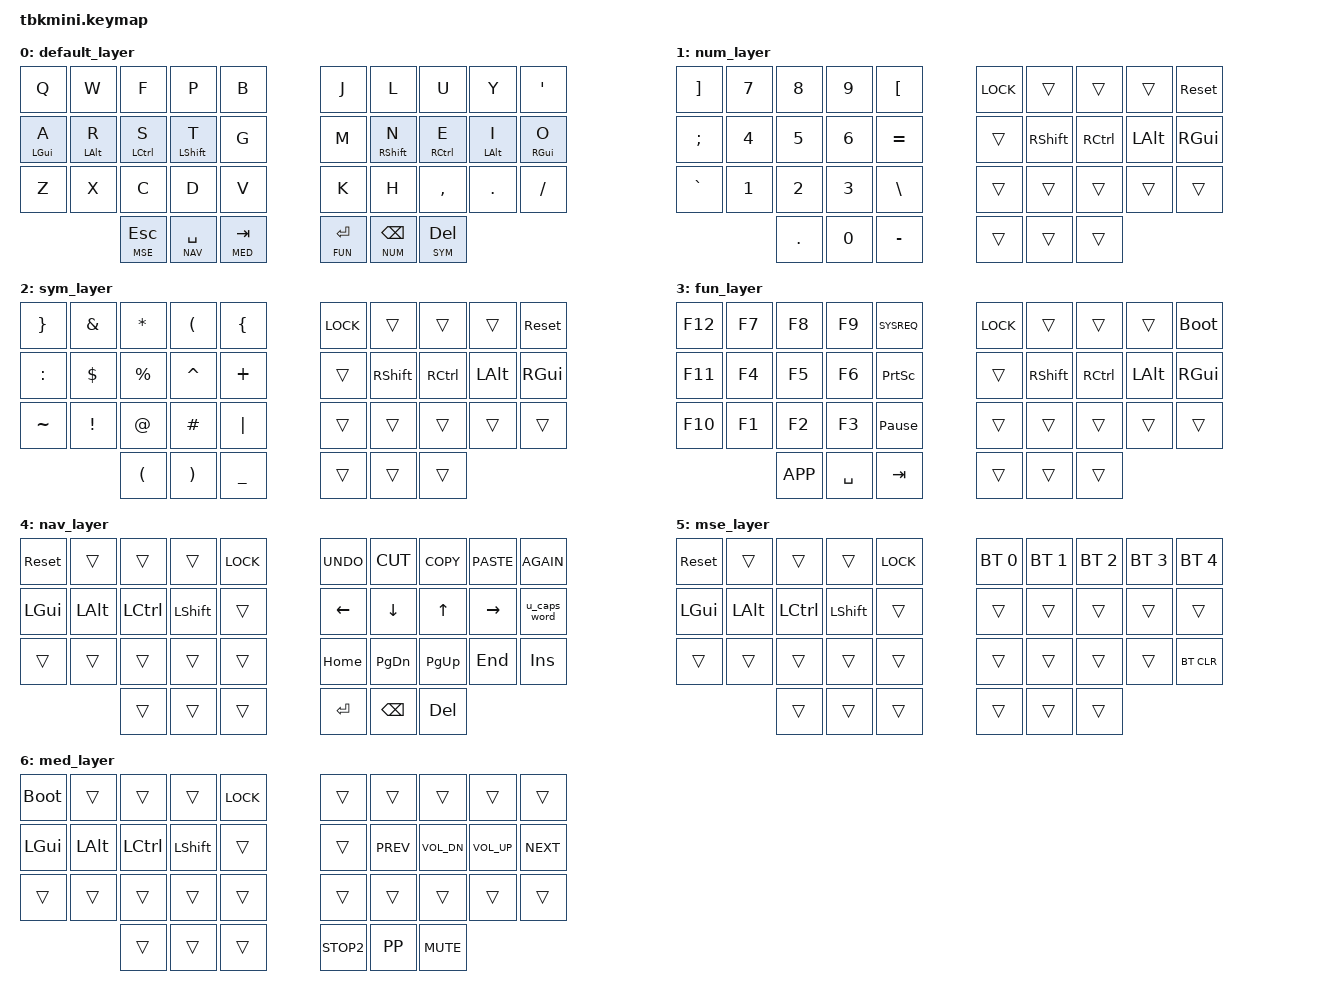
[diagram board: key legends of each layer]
#include <behaviors.dtsi>
#include <dt-bindings/zmk/keys.h>
#include <dt-bindings/zmk/bt.h>

#define DEFAULT 0
#define NUM 1
#define SYM 2
#define FUN 3
#define NAV 4
#define MSE 5
#define MED 6

&lt {
  tapping-term-ms = <300>;
  quick_tap_ms = <200>;
  flavor = "hold-preferred";
};

&caps_word {
  continue-list = <UNDERSCORE MINUS BACKSPACE DELETE>;
};

/ {
  chosen {
    zmk,matrix_transform = &skeletyl_transform;
  };

  behaviors {
    hm: homerow_mods {
      compatible = "zmk,behavior-hold-tap";
      label = "HOMEROW_MODS";
      #binding-cells = <2>;
      tapping-term-ms = <150>;
      quick_tap_ms = <150>;
      flavor = "tap-preferred";
      bindings = <&kp>, <&kp>;
    };
    u_caps_word: u_caps_word {
      compatible = "zmk,behavior-mod-morph";
      label = "u_caps_word";
      #binding-cells = <0>;
      bindings = <&caps_word>, <&kp CAPS>;
      mods = <(MOD_LSFT|MOD_RSFT)>;
    };
  };

  keymap {
        compatible = "zmk,keymap";

        default_layer {
            bindings = <
	&kp Q      &kp W        &kp F          &kp P       &kp B          &kp J  &kp L        &kp U        &kp Y       &kp SQT
	&hm LGUI A &hm LALT R   &hm LCTRL S    &hm LSHFT T &kp G          &kp M  &hm RSHFT N  &hm RCTRL E  &hm LALT I  &hm RGUI O
	&kp Z      &kp X        &kp C          &kp D       &kp V          &kp K  &kp H        &kp COMMA    &kp DOT     &kp FSLH
	           &lt MSE ESC  &lt NAV SPACE  &lt MED TAB                       &lt FUN RET  &lt NUM BSPC &lt SYM DEL
            >;
        };
        num_layer {
            bindings = <
	&kp RBKT   &kp N7     &kp N8      &kp N9      &kp LBKT       &kp K_LOCK &trans    &trans    &trans   &sys_reset
	&kp SEMI   &kp N4     &kp N5      &kp N6      &kp EQUAL      &trans     &kp RSHFT &kp RCTRL &kp LALT &kp RGUI
	&kp GRAVE  &kp N1     &kp N2      &kp N3      &kp BSLH       &trans     &trans    &trans    &trans   &trans
	           &kp DOT       &kp N0          &kp MINUS           &trans &trans &trans
            >;
        };
        sym_layer {
            bindings = <
	&kp RBRC  &kp AMPS &kp STAR  &kp LPAR  &kp LBRC        &kp K_LOCK &trans  &trans     &trans   &sys_reset
	&kp COLON &kp DLLR &kp PRCNT &kp CARET &kp PLUS        &trans &kp RSHFT  &kp RCTRL  &kp LALT  &kp RGUI
	&kp TILDE &kp EXCL &kp AT    &kp HASH  &kp PIPE        &trans &trans  &trans &trans &trans
	                  &kp LPAR  &kp RPAR   &kp UNDER              &trans &trans &trans
            >;
        };
        fun_layer {
            bindings = <
	&kp F12 &kp F7 &kp F8 &kp F9 &kp SYSREQ        &kp K_LOCK &trans  &trans     &trans   &bootloader
	&kp F11 &kp F4 &kp F5 &kp F6 &kp PRINTSCREEN   &trans &kp RSHFT  &kp RCTRL  &kp LALT  &kp RGUI
	&kp F10 &kp F1 &kp F2 &kp F3 &kp PAUSE_BREAK   &trans &trans  &trans &trans &trans
	                  &kp K_APP   &kp SPACE   &kp TAB     &trans &trans &trans
            >;
        };
        nav_layer {
            bindings = <
	&sys_reset   &trans   &trans    &trans     &kp K_LOCK   &kp K_UNDO &kp K_CUT &kp K_COPY &kp K_PASTE &kp K_AGAIN
	&kp LGUI &kp LALT &kp LCTRL &kp LSHFT &trans       &kp LEFT   &kp DOWN  &kp UP     &kp RIGHT   &u_caps_word
	&trans   &trans   &trans    &trans     &trans       &kp HOME   &kp PG_DN &kp PG_UP  &kp END     &kp INS
	                  &trans   &trans   &trans                 &kp RET &kp BSPC &kp DEL
            >;
        };
        mse_layer {
            bindings = <
	&sys_reset   &trans   &trans    &trans     &kp K_LOCK   &bt BT_SEL 0 &bt BT_SEL 1 &bt BT_SEL 2 &bt BT_SEL 3 &bt BT_SEL 4
	&kp LGUI &kp LALT &kp LCTRL &kp LSHFT &trans       &trans &trans &trans &trans &trans
	&trans   &trans   &trans    &trans     &trans       &trans &trans &trans &trans &bt BT_CLR
	                  &trans   &trans   &trans                 &trans &trans &trans
            >;
        };
        med_layer {
            bindings = <
	&bootloader   &trans   &trans    &trans     &kp K_LOCK   &trans &trans     &trans       &trans       &trans
	&kp LGUI &kp LALT &kp LCTRL &kp LSHFT &trans       &trans &kp K_PREV &kp K_VOL_DN &kp K_VOL_UP &kp K_NEXT
	&trans   &trans   &trans    &trans     &trans       &trans &trans     &trans       &trans       &trans
	                  &trans   &trans   &trans                 &kp K_STOP2 &kp K_PP &kp K_MUTE
            >;
        };
    };
};
